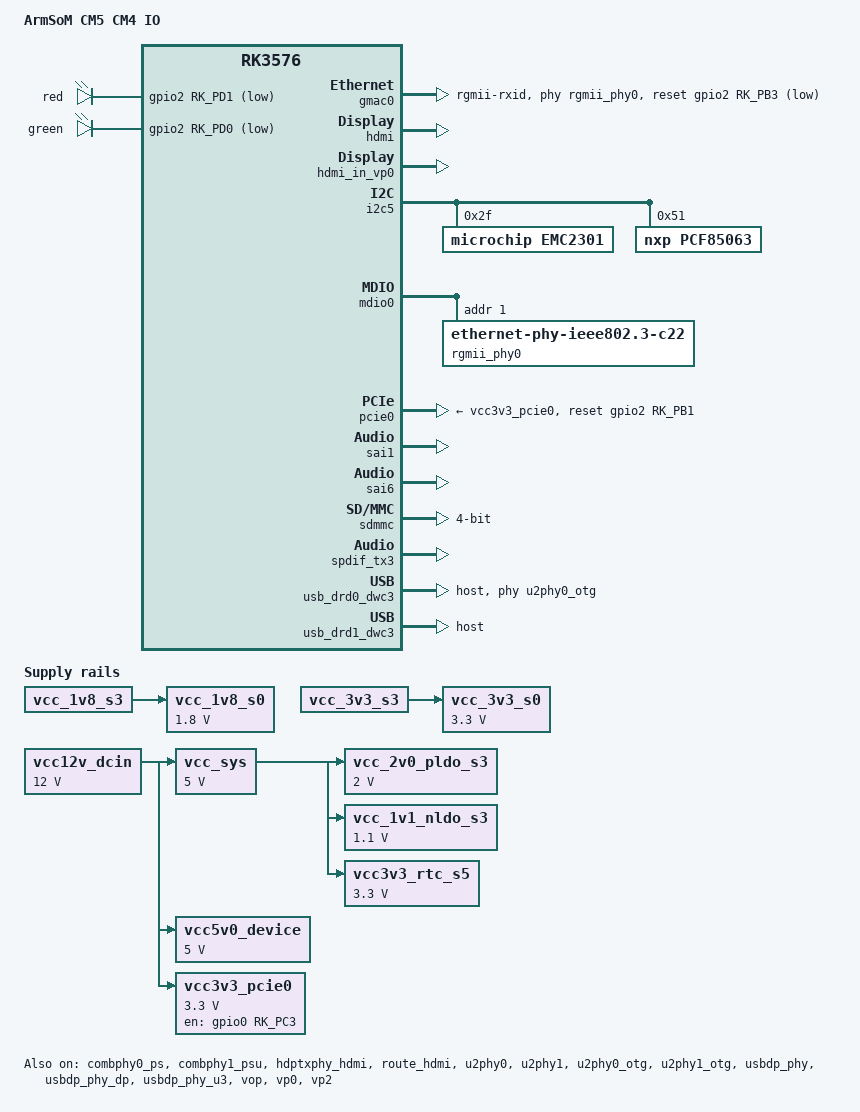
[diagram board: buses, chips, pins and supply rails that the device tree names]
// SPDX-License-Identifier: (GPL-2.0+ OR MIT)
/*
 * Copyright (c) 2024 Rockchip Electronics Co., Ltd.
 *
 */

/dts-v1/;

#include <dt-bindings/gpio/gpio.h>
#include <dt-bindings/pinctrl/rockchip.h>
#include <dt-bindings/display/rockchip_vop.h>
#include "rk3576-armsom-cm5.dtsi"
#include "rk3576-linux.dtsi"

/ {
	model = "ArmSoM CM5 CM4 IO";
	compatible = "armsom,cm5-cm4-io", "rockchip,rk3576";

	/delete-node/ chosen;

	hdmi_sound: hdmi-sound {
		compatible = "rockchip,hdmi";
		rockchip,mclk-fs = <128>;
		rockchip,card-name = "rockchip-hdmi";
		rockchip,cpu = <&sai6>;
		rockchip,codec = <&hdmi>;
		rockchip,jack-det;
	};

	leds: leds {
		compatible = "gpio-leds";
		work_led: work {
			label = "red";
			gpios = <&gpio2 RK_PD1 GPIO_ACTIVE_LOW>;
			linux,default-trigger = "default-on";
		};

		active_led: active {
			label = "green";
			gpios = <&gpio2 RK_PD0 GPIO_ACTIVE_LOW>;
			linux,default-trigger = "heartbeat";
			pinctrl-names = "default";
			pinctrl-0 = <&led_heartbeat>;
		};
	};

	vcc12v_dcin: vcc12v-dcin {
		compatible = "regulator-fixed";
		regulator-name = "vcc12v_dcin";
		regulator-always-on;
		regulator-boot-on;
		regulator-min-microvolt = <12000000>;
		regulator-max-microvolt = <12000000>;
	};

	vcc_sys: vcc5v0-sys {
		compatible = "regulator-fixed";
		regulator-name = "vcc_sys";
		regulator-always-on;
		regulator-boot-on;
		regulator-min-microvolt = <5000000>;
		regulator-max-microvolt = <5000000>;
		vin-supply = <&vcc12v_dcin>;
	};

	vcc5v0_device: vcc5v0-device {
		compatible = "regulator-fixed";
		regulator-name = "vcc5v0_device";
		regulator-always-on;
		regulator-boot-on;
		regulator-min-microvolt = <5000000>;
		regulator-max-microvolt = <5000000>;
		vin-supply = <&vcc12v_dcin>;
	};

	vcc_2v0_pldo_s3: vcc-2v0-pldo-s3 {
		compatible = "regulator-fixed";
		regulator-name = "vcc_2v0_pldo_s3";
		regulator-boot-on;
		regulator-always-on;
		regulator-min-microvolt = <2000000>;
		regulator-max-microvolt = <2000000>;
		vin-supply = <&vcc_sys>;
	};

	vcc_1v1_nldo_s3: vcc-1v1-nldo-s3 {
		compatible = "regulator-fixed";
		regulator-name = "vcc_1v1_nldo_s3";
		regulator-boot-on;
		regulator-always-on;
		regulator-min-microvolt = <1100000>;
		regulator-max-microvolt = <1100000>;
		vin-supply = <&vcc_sys>;
	};

	vcc_1v8_s0: vcc-1v8-s0 {
		compatible = "regulator-fixed";
		regulator-name = "vcc_1v8_s0";
		regulator-boot-on;
		regulator-always-on;
		regulator-min-microvolt = <1800000>;
		regulator-max-microvolt = <1800000>;
		vin-supply = <&vcc_1v8_s3>;
	};

	vcc_3v3_s0: vcc-3v3-s0 {
		compatible = "regulator-fixed";
		regulator-name = "vcc_3v3_s0";
		regulator-boot-on;
		regulator-always-on;
		regulator-min-microvolt = <3300000>;
		regulator-max-microvolt = <3300000>;
		vin-supply = <&vcc_3v3_s3>;
	};

	vcc3v3_rtc_s5: vcc3v3-rtc-s5 {
		compatible = "regulator-fixed";
		regulator-name = "vcc3v3_rtc_s5";
		regulator-boot-on;
		regulator-always-on;
		regulator-min-microvolt = <3300000>;
		regulator-max-microvolt = <3300000>;
		vin-supply = <&vcc_sys>;
	};

	vcc3v3_pcie0: vcc3v3-pcie0 {
		compatible = "regulator-fixed";
		regulator-name = "vcc3v3_pcie0";
		regulator-min-microvolt = <3300000>;
		regulator-max-microvolt = <3300000>;
		enable-active-high;
		gpios = <&gpio0 RK_PC3 GPIO_ACTIVE_HIGH>;
		startup-delay-us = <5000>;
		vin-supply = <&vcc12v_dcin>;
	};
};

&combphy0_ps {
	status = "okay";
};

&combphy1_psu {
	status = "okay";
};

&display_subsystem {
	clocks = <&hdptxphy_hdmi>;
	clock-names = "hdmi0_phy_pll";
};

&gmac0 {
	/* Use rgmii-rxid mode to disable rx delay inside Soc */
	phy-mode = "rgmii-rxid";
	clock_in_out = "output";

	snps,reset-gpio = <&gpio2 RK_PB3 GPIO_ACTIVE_LOW>;
	snps,reset-active-low;
	/* Reset time is 20ms, 100ms for rtl8211f */
	snps,reset-delays-us = <0 20000 100000>;

	pinctrl-names = "default";
	pinctrl-0 = <&eth0m0_miim
		     &eth0m0_tx_bus2
		     &eth0m0_rx_bus2
		     &eth0m0_rgmii_clk
		     &eth0m0_rgmii_bus
		     &ethm0_clk0_25m_out>;

	tx_delay = <0x21>;
	/* rx_delay = <0x3f>; */

	phy-handle = <&rgmii_phy0>;
	status = "okay";
};

&hdmi {
	status = "okay";
	//enable-gpios = <&gpio2 RK_PB0 GPIO_ACTIVE_HIGH>;
	rockchip,sda-falling-delay-ns = <360>;
};

&hdmi_in_vp0 {
	status = "okay";
};

&hdptxphy_hdmi {
	status = "okay";
};

&i2c5 {
	status = "okay";
	pinctrl-names = "default";
	pinctrl-0 = <&i2c5m3_xfer>;

	emc2301: emc2301@2f {
		compatible = "microchip,emc2301";
		reg = <0x2f>;
		#address-cells = <1>;
		#size-cells = <0>;
		#cooling-cells = <2>;
		microchip,pwm-separate;
		microchip,cooling-levels = <10>;
		channel@0 {
			reg = <0>;
			pwm-min = <0>;
		};
	};

	pcf85063: pcf85063@51 {
		compatible = "nxp,pcf85063";
		reg = <0x51>;
		quartz-load-femtofarads = <12500>;
	};
};

&mdio0 {
	rgmii_phy0: phy@1 {
		compatible = "ethernet-phy-ieee802.3-c22";
		reg = <0x1>;
		clocks = <&cru REFCLKO25M_GMAC0_OUT>;
	};
};

&pcie0 {
	reset-gpios = <&gpio2 RK_PB1 GPIO_ACTIVE_HIGH>;
	vpcie3v3-supply = <&vcc3v3_pcie0>;
	status = "okay";
};

&pinctrl {
	led {
		led_heartbeat: led-heartbeat {
			rockchip,pins = <2 RK_PD0 RK_FUNC_GPIO &pcfg_pull_none>;
		};
	};
};

&route_hdmi {
	status = "okay";
	connect = <&vp0_out_hdmi>;
};

&sai1 {
	status = "okay";
	pinctrl-names = "default";
	pinctrl-0 = <&sai1m0_lrck
		     &sai1m0_sclk
		     &sai1m0_sdi0
		     &sai1m0_sdo0>;
};

&sai6 {
	status = "okay";
};

&sdmmc {
	max-frequency = <200000000>;
	no-sdio;
	no-mmc;
	bus-width = <4>;
	cap-mmc-highspeed;
	cap-sd-highspeed;
	disable-wp;
	sd-uhs-sdr104;
	vqmmc-supply = <&vccio_sd_s0>;
	status = "okay";
};

&spdif_tx3 {
	status = "okay";
};

&u2phy0 {
	status = "okay";
};

&u2phy1 {
	status = "okay";
};

&u2phy0_otg {
	rockchip,sel-pipe-phystatus;
	rockchip,dis-u2-susphy;
	status = "okay";
};

&u2phy1_otg {
	status = "okay";
};

&usbdp_phy {
	maximum-speed = "high-speed";
	rockchip,dp-lane-mux = < 0 1 2 3 >;
	status = "okay";
};

&usbdp_phy_dp {
	status = "okay";
};

&usbdp_phy_u3 {
	status = "okay";
};

&usb_drd0_dwc3 {
	status = "okay";
	dr_mode = "host";
	phys = <&u2phy0_otg>;
	phy-names = "usb2-phy";
	maximum-speed = "high-speed";
	snps,dis_u2_susphy_quirk;
	snps,usb2-lpm-disable;
};

&usb_drd1_dwc3 {
	dr_mode = "host";
	status = "okay";
};

&vop {
	status = "okay";
	vop-supply = <&vdd_logic_s0>;
};

&vop_mmu {
	status = "okay";
};

&vp0 {
	status = "okay";
};

&vp2 {
	status = "okay";
	assigned-clocks = <&cru DCLK_VP2_SRC>;
	assigned-clock-parents = <&cru PLL_VPLL>;
};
